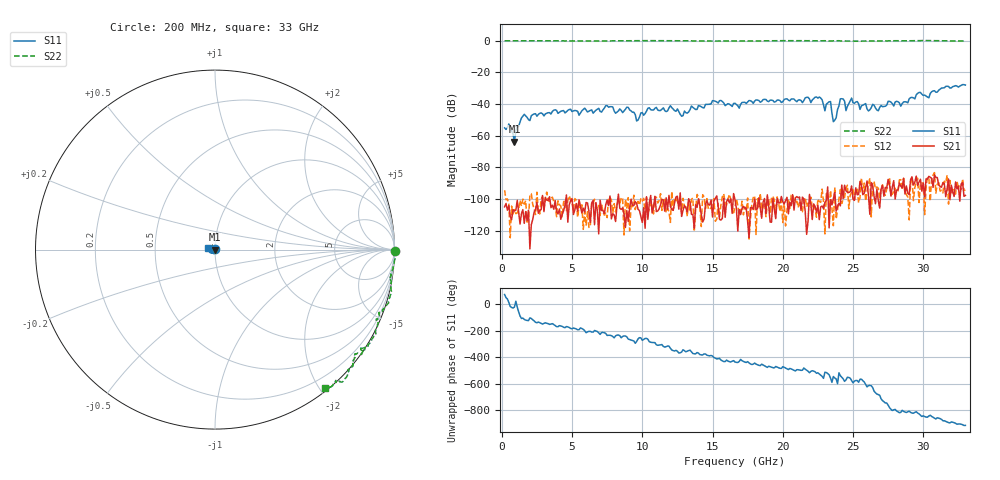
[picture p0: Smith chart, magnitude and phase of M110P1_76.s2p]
# GHZ S RI R 50
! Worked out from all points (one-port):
!   329 points, 200 MHz to 33 GHz, reference 50 ohm
!   lowest |S11| = -63.8 dB at 900 MHz (marker M1), VSWR 1.00, Z = 50.1 - j0.0234 ohm
!   |S11| at or under -10 dB: start of sweep to end of sweep
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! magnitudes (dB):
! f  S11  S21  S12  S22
! 200 MHz  -55.1  -105.0  -94.4  0.0
! 500 MHz  -52.6  -104.0  -103.0  0.0
! 900 MHz  -63.8  -107.5  -106.7  0.0
! 1.6 GHz  -46.5  -115.4  -103.2  0.0
! 5.7 GHz  -44.2  -108.9  -103.7  -0.1
! 9 GHz  -42.1  -114.1  -99.1  0.0
! 9.6 GHz  -50.7  -102.8  -102.9  0.1
! 11.2 GHz  -44.1  -106.2  -101.0  0.1
! 12.8 GHz  -47.7  -111.0  -108.5  0.0
! 15 GHz  -37.8  -111.4  -102.8  -0.2
! 16.6 GHz  -39.5  -100.4  -105.1  -0.2
! 22.1 GHz  -37.4  -112.9  -105.7  0.0
! 22.7 GHz  -36.2  -105.0  -102.1  0.0
! 23 GHz  -44.2  -102.1  -122.1  0.0
! 23.4 GHz  -38.4  -100.5  -94.6  -0.2
! 23.6 GHz  -51.1  -99.9  -116.8  0.0
! 24.1 GHz  -36.7  -104.3  -94.0  -0.1
! 24.5 GHz  -44.1  -94.8  -93.2  -0.2
! 24.9 GHz  -36.2  -91.7  -95.9  -0.2
! 26.1 GHz  -44.3  -97.9  -90.6  -0.2
! 27.6 GHz  -38.3  -90.6  -86.5  0.0
! 33 GHz  -28.0  -97.8  -94.4  -0.1
